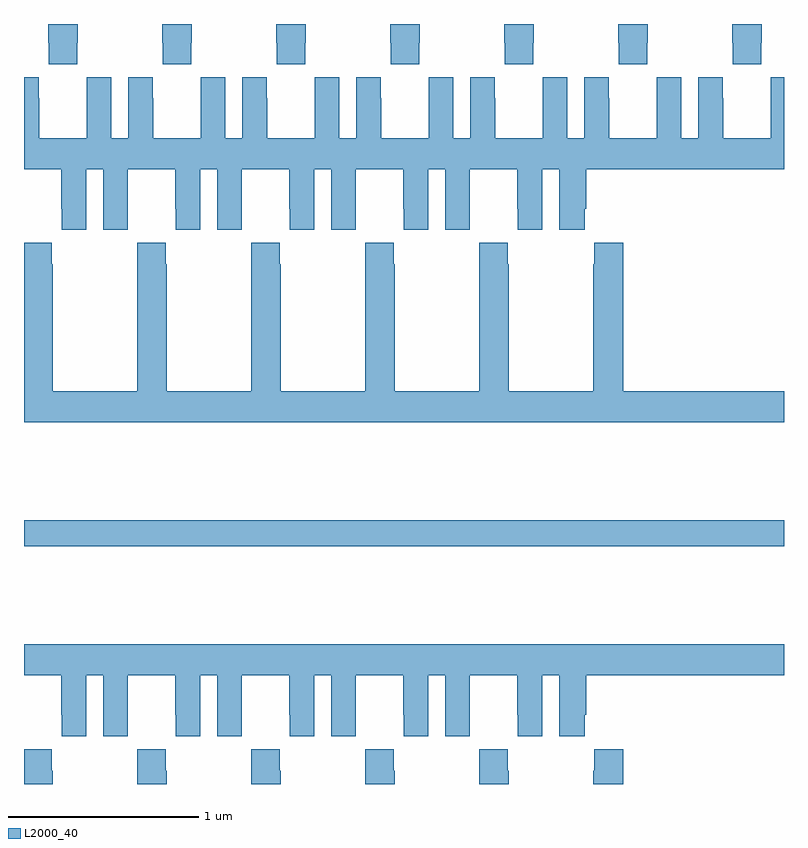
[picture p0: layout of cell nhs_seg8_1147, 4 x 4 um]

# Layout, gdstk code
import gdstk
lib = gdstk.Library(unit=1e-6, precision=1e-09)
def R(c, l, rs):  # rectangles x0, y0, x1, y1
    for r in rs: c.add(gdstk.rectangle(r[:2], r[2:], *l))
def P(c, l, *ps):  # polygons
    for p in ps: c.add(gdstk.Polygon(p, *l))
L2000_40 = (2000, 40)

nhs_seg8_1147 = lib.new_cell('nhs_seg8_1147')
R(nhs_seg8_1147, L2000_40, [(183,1145.152,187,1145.288)])
P(nhs_seg8_1147, L2000_40, [(184.479,1147.801),(184.482,1147.801),(184.482,1147.9),(184.327,1147.9),(184.327,1147.801),(184.329,1147.801),(184.329,1147.689),(184.479,1147.689)],
  [(183.879,1147.801),(183.882,1147.801),(183.882,1147.9),(183.727,1147.9),(183.727,1147.801),(183.729,1147.801),(183.729,1147.689),(183.879,1147.689)],
  [(183.279,1147.801),(183.282,1147.801),(183.282,1147.9),(183.127,1147.9),(183.127,1147.801),(183.129,1147.801),(183.129,1147.689),(183.279,1147.689)],
  [(184.927,1147.801),(184.929,1147.801),(184.929,1147.689),(185.079,1147.689),(185.079,1147.801),(185.082,1147.801),(185.082,1147.9),(184.927,1147.9)],
  [(185.679,1147.801),(185.682,1147.801),(185.682,1147.9),(185.527,1147.9),(185.527,1147.801),(185.529,1147.801),(185.529,1147.689),(185.679,1147.689)],
  [(186.279,1147.801),(186.282,1147.801),(186.282,1147.9),(186.127,1147.9),(186.127,1147.801),(186.129,1147.801),(186.129,1147.689),(186.279,1147.689)],
  [(186.879,1147.801),(186.882,1147.801),(186.882,1147.9),(186.727,1147.9),(186.727,1147.801),(186.729,1147.801),(186.729,1147.689),(186.879,1147.689)],
  [(183.33,1147.508),(183.329,1147.508),(183.329,1147.3),(183.079,1147.3),(183.079,1147.508),(183.078,1147.508),(183.078,1147.621),(183,1147.621),(183,1147.136),(183.197,1147.136),(183.197,1146.928),(183.198,1146.928),(183.198,1146.816),(183.328,1146.816),(183.328,1147.136),(183.416,1147.136),(183.416,1146.816),(183.546,1146.816),(183.546,1146.928),(183.547,1146.928),(183.547,1147.136),(183.797,1147.136),(183.797,1146.928),(183.798,1146.928),(183.798,1146.816),(183.928,1146.816),(183.928,1147.136),(184.016,1147.136),(184.016,1146.816),(184.146,1146.816),(184.146,1146.928),(184.147,1146.928),(184.147,1147.136),(184.397,1147.136),(184.397,1146.928),(184.398,1146.928),(184.398,1146.816),(184.528,1146.816),(184.528,1147.136),(184.616,1147.136),(184.616,1146.816),(184.746,1146.816),(184.746,1146.928),(184.747,1146.928),(184.747,1147.136),(184.997,1147.136),(184.997,1146.928),(184.998,1146.928),(184.998,1146.816),(185.128,1146.816),(185.128,1147.136),(185.216,1147.136),(185.216,1146.816),(185.346,1146.816),(185.346,1146.928),(185.347,1146.928),(185.347,1147.136),(185.597,1147.136),(185.597,1146.928),(185.598,1146.928),(185.598,1146.816),(185.728,1146.816),(185.728,1147.136),(185.816,1147.136),(185.816,1146.816),(185.95,1146.816),(185.95,1146.928),(185.96,1146.928),(185.96,1147.136),(187,1147.136),(187,1147.621),(186.93,1147.621),(186.93,1147.508),(186.929,1147.508),(186.929,1147.3),(186.679,1147.3),(186.679,1147.508),(186.678,1147.508),(186.678,1147.621),(186.548,1147.621),(186.548,1147.3),(186.46,1147.3),(186.46,1147.621),(186.33,1147.621),(186.33,1147.508),(186.329,1147.508),(186.329,1147.3),(186.079,1147.3),(186.079,1147.508),(186.078,1147.508),(186.078,1147.621),(185.948,1147.621),(185.948,1147.3),(185.86,1147.3),(185.86,1147.621),(185.73,1147.621),(185.73,1147.508),(185.729,1147.508),(185.729,1147.3),(185.479,1147.3),(185.479,1147.508),(185.478,1147.508),(185.478,1147.621),(185.348,1147.621),(185.348,1147.3),(185.26,1147.3),(185.26,1147.621),(185.13,1147.621),(185.13,1147.508),(185.129,1147.508),(185.129,1147.3),(184.879,1147.3),(184.879,1147.508),(184.878,1147.508),(184.878,1147.621),(184.748,1147.621),(184.748,1147.3),(184.66,1147.3),(184.66,1147.621),(184.53,1147.621),(184.53,1147.508),(184.529,1147.508),(184.529,1147.3),(184.279,1147.3),(184.279,1147.508),(184.278,1147.508),(184.278,1147.621),(184.148,1147.621),(184.148,1147.3),(184.06,1147.3),(184.06,1147.621),(183.93,1147.621),(183.93,1147.508),(183.929,1147.508),(183.929,1147.3),(183.679,1147.3),(183.679,1147.508),(183.678,1147.508),(183.678,1147.621),(183.548,1147.621),(183.548,1147.3),(183.46,1147.3),(183.46,1147.621),(183.33,1147.621)],
  [(187,1145.968),(186.155,1145.968),(186.155,1146.748),(186.001,1146.748),(186.001,1146.635),(185.995,1146.635),(185.995,1145.968),(185.55,1145.968),(185.55,1146.635),(185.547,1146.635),(185.547,1146.748),(185.397,1146.748),(185.397,1146.635),(185.395,1146.635),(185.395,1145.968),(184.95,1145.968),(184.95,1146.635),(184.947,1146.635),(184.947,1146.748),(184.797,1146.748),(184.797,1146.635),(184.795,1146.635),(184.795,1145.968),(184.35,1145.968),(184.35,1146.635),(184.347,1146.635),(184.347,1146.748),(184.197,1146.748),(184.197,1146.635),(184.195,1146.635),(184.195,1145.968),(183.75,1145.968),(183.75,1146.635),(183.747,1146.635),(183.747,1146.748),(183.597,1146.748),(183.597,1146.635),(183.595,1146.635),(183.595,1145.968),(183.15,1145.968),(183.15,1146.635),(183.147,1146.635),(183.147,1146.748),(183,1146.748),(183,1145.804),(187,1145.804)],
  [(183,1144.472),(183.197,1144.472),(183.197,1144.264),(183.198,1144.264),(183.198,1144.152),(183.328,1144.152),(183.328,1144.472),(183.416,1144.472),(183.416,1144.152),(183.546,1144.152),(183.546,1144.264),(183.547,1144.264),(183.547,1144.472),(183.797,1144.472),(183.797,1144.264),(183.798,1144.264),(183.798,1144.152),(183.928,1144.152),(183.928,1144.472),(184.016,1144.472),(184.016,1144.152),(184.146,1144.152),(184.146,1144.264),(184.147,1144.264),(184.147,1144.472),(184.397,1144.472),(184.397,1144.264),(184.398,1144.264),(184.398,1144.152),(184.528,1144.152),(184.528,1144.472),(184.616,1144.472),(184.616,1144.152),(184.746,1144.152),(184.746,1144.264),(184.747,1144.264),(184.747,1144.472),(184.997,1144.472),(184.997,1144.264),(184.998,1144.264),(184.998,1144.152),(185.128,1144.152),(185.128,1144.472),(185.216,1144.472),(185.216,1144.152),(185.346,1144.152),(185.346,1144.264),(185.347,1144.264),(185.347,1144.472),(185.597,1144.472),(185.597,1144.264),(185.598,1144.264),(185.598,1144.152),(185.728,1144.152),(185.728,1144.472),(185.816,1144.472),(185.816,1144.152),(185.95,1144.152),(185.95,1144.264),(185.96,1144.264),(185.96,1144.472),(187,1144.472),(187,1144.636),(183,1144.636)],
  [(183.15,1143.971),(183.147,1143.971),(183.147,1144.084),(183,1144.084),(183,1143.9),(183.15,1143.9)],
  [(186.155,1144.084),(186.001,1144.084),(186.001,1143.971),(185.995,1143.971),(185.995,1143.9),(186.155,1143.9)],
  [(185.55,1143.971),(185.547,1143.971),(185.547,1144.084),(185.397,1144.084),(185.397,1143.971),(185.395,1143.971),(185.395,1143.9),(185.55,1143.9)],
  [(184.95,1143.971),(184.947,1143.971),(184.947,1144.084),(184.797,1144.084),(184.797,1143.971),(184.795,1143.971),(184.795,1143.9),(184.95,1143.9)],
  [(184.35,1143.971),(184.347,1143.971),(184.347,1144.084),(184.197,1144.084),(184.197,1143.971),(184.195,1143.971),(184.195,1143.9),(184.35,1143.9)],
  [(183.75,1143.971),(183.747,1143.971),(183.747,1144.084),(183.597,1144.084),(183.597,1143.971),(183.595,1143.971),(183.595,1143.9),(183.75,1143.9)])

lib.write_gds('nhs_seg8_1147.gds')
